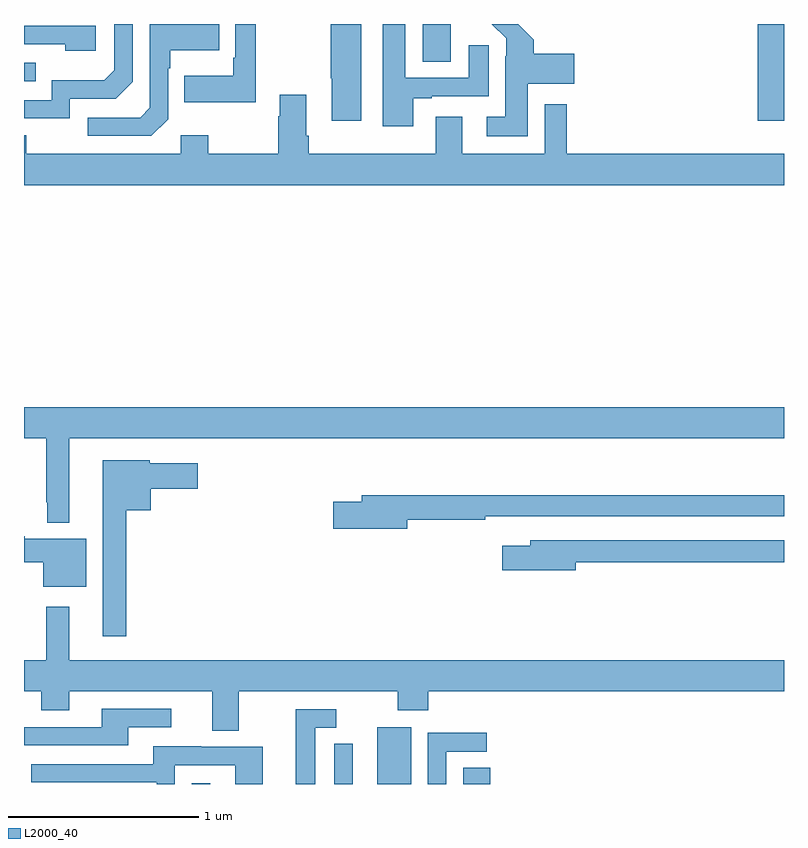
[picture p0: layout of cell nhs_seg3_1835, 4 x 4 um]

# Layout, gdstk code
import gdstk
lib = gdstk.Library(unit=1e-6, precision=1e-09)
def R(c, l, rs):  # rectangles x0, y0, x1, y1
    for r in rs: c.add(gdstk.rectangle(r[:2], r[2:], *l))
def P(c, l, *ps):  # polygons
    for p in ps: c.add(gdstk.Polygon(p, *l))
L2000_40 = (2000, 40)

nhs_seg3_1835 = lib.new_cell('nhs_seg3_1835')
R(nhs_seg3_1835, L2000_40, [(205.884,728.4,205.981,728.404), (206.858,728.4,207.037,728.698), (207.311,728.4,207.455,728.486), (208.862,731.892,209,732.4), (205,732.099,205.061,732.195), (207.098,732.202,207.247,732.4)])
P(nhs_seg3_1835, L2000_40, [(205.242,732.006),(205.482,732.006),(205.572,732.096),(205.572,732.4),(205.476,732.4),(205.476,732.156),(205.423,732.103),(205.146,732.103),(205.146,732),(205,732),(205,731.904),(205.242,731.904)],
  [(205.758,731.898),(205.758,732.167),(205.771,732.167),(205.771,732.263),(206.027,732.263),(206.027,732.4),(205.662,732.4),(205.662,731.958),(205.611,731.907),(205.335,731.907),(205.335,731.811),(205.671,731.811)],
  [(206.776,732.4),(206.614,732.4),(206.614,732.115),(206.621,732.115),(206.621,731.892),(206.776,731.892)],
  [(206.221,732.4),(206.112,732.4),(206.112,732.223),(206.1,732.223),(206.1,732.127),(205.843,732.127),(205.843,731.987),(206.221,731.987)],
  [(207.652,732.086),(207.895,732.086),(207.895,732.244),(207.683,732.244),(207.683,732.318),(207.601,732.4),(207.463,732.4),(207.463,732.398),(207.537,732.324),(207.537,732.23),(207.533,732.23),(207.533,731.911),(207.435,731.911),(207.435,731.81),(207.652,731.81)],
  [(207.049,732.009),(207.145,732.009),(207.145,732.021),(207.445,732.021),(207.445,732.289),(207.341,732.289),(207.341,732.117),(207.007,732.117),(207.007,732.4),(206.888,732.4),(206.888,731.862),(207.049,731.862)],
  [(205.378,732.39),(205,732.39),(205,732.294),(205.217,732.294),(205.217,732.26),(205.378,732.26)],
  [(207.167,731.911),(207.167,731.716),(206.498,731.716),(206.498,731.812),(206.485,731.812),(206.485,732.028),(206.345,732.028),(206.345,731.915),(206.338,731.915),(206.338,731.716),(205.971,731.716),(205.971,731.815),(205.824,731.815),(205.824,731.716),(205.011,731.716),(205.011,731.815),(205,731.815),(205,731.552),(209,731.552),(209,731.716),(207.857,731.716),(207.857,731.977),(207.741,731.977),(207.741,731.716),(207.307,731.716),(207.307,731.911)],
  [(205.237,730.22),(209,730.22),(209,730.384),(205,730.384),(205,730.22),(205.116,730.22),(205.116,729.883),(205.122,729.883),(205.122,729.776),(205.237,729.776)],
  [(205.537,729.842),(205.666,729.842),(205.666,729.953),(205.915,729.953),(205.915,730.087),(205.662,730.087),(205.662,730.105),(205.415,730.105),(205.415,729.177),(205.537,729.177)],
  [(207.016,729.79),(207.428,729.79),(207.428,729.81),(209,729.81),(209,729.919),(206.777,729.919),(206.777,729.885),(206.628,729.885),(206.628,729.743),(207.016,729.743)],
  [(205.327,729.691),(205.004,729.691),(205.004,729.704),(205,729.704),(205,729.568),(205.1,729.568),(205.1,729.437),(205.327,729.437)],
  [(207.904,729.568),(209,729.568),(209,729.684),(207.665,729.684),(207.665,729.655),(207.516,729.655),(207.516,729.526),(207.904,729.526)],
  [(206.131,728.888),(206.968,728.888),(206.968,728.789),(207.128,728.789),(207.128,728.888),(209,728.888),(209,729.052),(205.237,729.052),(205.237,729.334),(205.116,729.334),(205.116,729.052),(205,729.052),(205,728.888),(205.09,728.888),(205.09,728.789),(205.237,728.789),(205.237,728.888),(205.991,728.888),(205.991,728.68),(206.131,728.68)],
  [(205.549,728.7),(205.774,728.7),(205.774,728.796),(205.409,728.796),(205.409,728.7),(205,728.7),(205,728.604),(205.549,728.604)],
  [(206.533,728.697),(206.644,728.697),(206.644,728.793),(206.429,728.793),(206.429,728.4),(206.533,728.4)],
  [(207.222,728.571),(207.436,728.571),(207.436,728.67),(207.126,728.67),(207.126,728.4),(207.222,728.4)],
  [(206.729,728.458),(206.73,728.458),(206.73,728.612),(206.634,728.612),(206.634,728.4),(206.729,728.4)],
  [(205.794,728.499),(206.112,728.499),(206.112,728.4),(206.257,728.4),(206.257,728.595),(205.933,728.595),(205.933,728.599),(205.679,728.599),(205.679,728.505),(205.039,728.505),(205.039,728.409),(205.698,728.409),(205.698,728.4),(205.794,728.4)])

lib.write_gds('nhs_seg3_1835.gds')
